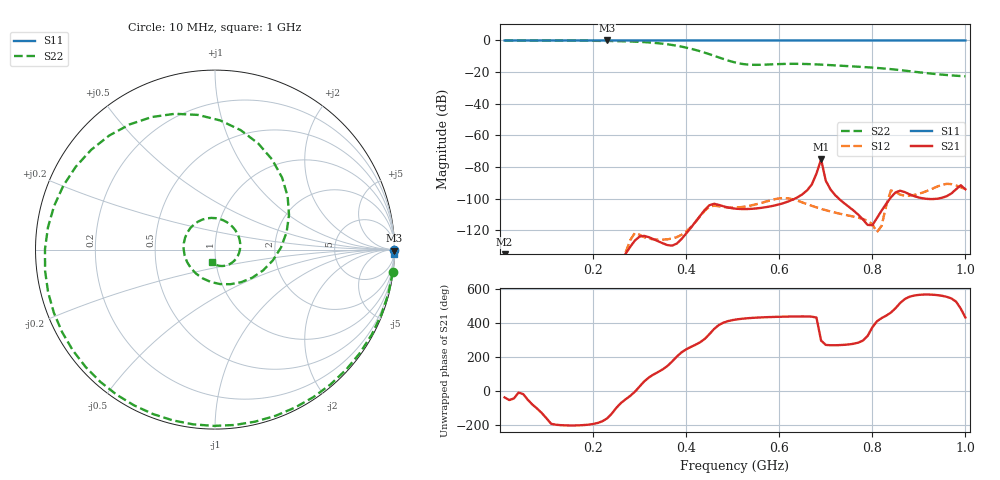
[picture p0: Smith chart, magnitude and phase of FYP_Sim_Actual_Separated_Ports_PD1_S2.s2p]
! Touchstone file from project FYP_Sim_Actual_Separated_Ports
! Exported from HFSS 13.0.2
# GHZ S MA R 50.000000
! Terminal data exported
! Port[1] = PD1_Void_Port_T1
! Port[2] = Radiating_Plate_T1
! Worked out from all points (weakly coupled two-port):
!   100 points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, 10 MHz to 1 GHz, reference 50 ohm
!   highest |S21| = -75.21 dB at 690 MHz (marker M1); lowest = -184.3 dB at 10 MHz (marker M2)
!   lowest |S11| = 0.0 dB at 230 MHz (marker M3)
!   |S11| at or under -10 dB: nowhere
!   |S22| runs from -22.7 to 0.0 dB; largest |S21 - S12| = 0.00017
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0.01  1 -0.0  6.103e-10 -35.7  6.726e-11 126.3  0.9983 -7.2
0.05  1 -0.1  1.005e-09 -16.3  7.222e-10 -14.9  0.992 -35.5
0.1  1 -0.2  3.044e-09 -158.4  2.995e-09 -159.1  0.9855 -70.0
0.14  1 -0.2  3.513e-08 160.2  2.444e-08 174.8  0.9812 -97.2
0.18  1 -0.3  5.898e-08 161.9  4.821e-08 172.3  0.9767 -124.2
0.23  1 -0.3  5.386e-08 -159.3  5.859e-08 -173.7  0.9643 -158.6
0.26  1 -0.4  1.081e-07 -68.3  8.571e-08 -76.8  0.9472 179.8
0.28  1 -0.4  3.043e-07 -26.5  4.946e-07 -13.9  0.9289 164.8
0.31  1 -0.5  6.697e-07 58.5  6.073e-07 87.7  0.886 141.1
0.34  1 -0.5  4.517e-07 113.8  5.079e-07 87.2  0.8183 115.5
0.38  1 -0.6  3.824e-07 -155.8  6.115e-07 48.2  0.6809 77.9
0.42  1 -0.6  1.847e-06 -86.6  1.83e-06 -20.1  0.5019 36.3
0.47  1 -0.7  6.406e-06 29.0  5.779e-06 -153.1  0.292 -23.4
0.51  1 -0.8  4.786e-06 62.9  5.299e-06 161.7  0.1939 -81.7
0.58  1 -0.9  5.685e-06 76.2  8.799e-06 105.2  0.1748 179.4
0.67  1 -1.0  2.812e-05 78.7  5.961e-06 -11.3  0.1777 96.6
0.68  1 -1.0  6.201e-05 73.3  5.319e-06 -19.0  0.1752 88.8
0.69  1 -1.0  0.0001737 -62.0  4.782e-06 -26.0  0.1724 81.2
0.7  1 -1.1  3.705e-05 -87.3  4.331e-06 -32.6  0.1694 73.7
0.77  1 -1.2  3.116e-06 -73.9  2.514e-06 -72.9  0.1479 22.2
0.84  1 -1.3  1.101e-05 102.7  1.835e-05 131.8  0.124 -30.3
1  1 -1.5  1.984e-05 73.4  1.995e-05 58.3  0.07346 -103.5
